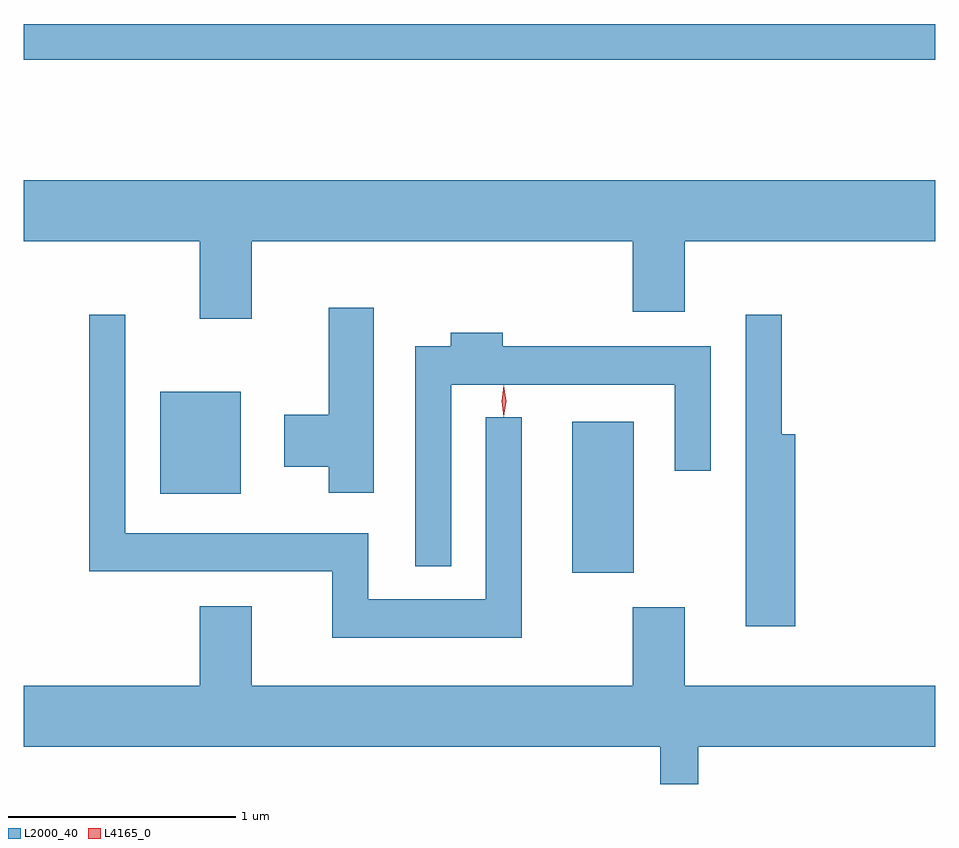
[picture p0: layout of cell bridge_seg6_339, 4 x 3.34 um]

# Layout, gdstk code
import gdstk
lib = gdstk.Library(unit=1e-6, precision=1e-09)
def R(c, l, rs):  # rectangles x0, y0, x1, y1
    for r in rs: c.add(gdstk.rectangle(r[:2], r[2:], *l))
def P(c, l, *ps):  # polygons
    for p in ps: c.add(gdstk.Polygon(p, *l))
L2000_40 = (2000, 40)
L4165_0 = (4165, 0)

bridge_seg6_339 = lib.new_cell('bridge_seg6_339')
R(bridge_seg6_339, L2000_40, [(1292.326,1533.041,1292.594,1533.704), (1290.516,1533.386,1290.869,1533.834), (1289.918,1535.291,1293.918,1535.449)])
P(bridge_seg6_339, L2000_40, [(1290.919,1534.496),(1292.591,1534.496),(1292.591,1534.186),(1292.819,1534.186),(1292.819,1534.496),(1293.918,1534.496),(1293.918,1534.764),(1289.918,1534.764),(1289.918,1534.496),(1290.691,1534.496),(1290.691,1534.156),(1290.919,1534.156)],
  [(1291.454,1534.204),(1291.256,1534.204),(1291.256,1533.734),(1291.061,1533.734),(1291.061,1533.506),(1291.256,1533.506),(1291.256,1533.391),(1291.454,1533.391)],
  [(1292.104,1533.723),(1291.946,1533.723),(1291.946,1532.924),(1291.429,1532.924),(1291.429,1533.214),(1290.364,1533.214),(1290.364,1534.173),(1290.206,1534.173),(1290.206,1533.046),(1291.271,1533.046),(1291.271,1532.756),(1292.104,1532.756)],
  [(1293.304,1533.649),(1293.244,1533.649),(1293.244,1534.173),(1293.086,1534.173),(1293.086,1532.806),(1293.304,1532.806)],
  [(1291.794,1533.866),(1292.776,1533.866),(1292.776,1533.488),(1292.934,1533.488),(1292.934,1534.034),(1292.019,1534.034),(1292.019,1534.094),(1291.791,1534.094),(1291.791,1534.034),(1291.636,1534.034),(1291.636,1533.068),(1291.794,1533.068)],
  [(1292.879,1532.276),(1293.918,1532.276),(1293.918,1532.544),(1292.819,1532.544),(1292.819,1532.889),(1292.591,1532.889),(1292.591,1532.544),(1290.919,1532.544),(1290.919,1532.894),(1290.691,1532.894),(1290.691,1532.544),(1289.918,1532.544),(1289.918,1532.276),(1292.711,1532.276),(1292.711,1532.113),(1292.879,1532.113)])
P(bridge_seg6_339, L4165_0, [(1292.024,1533.724),(1292.015,1533.793),(1292.024,1533.863),(1292.025,1533.863),(1292.025,1533.863),(1292.035,1533.793),(1292.025,1533.724),(1292.025,1533.724)],
  [(1292.024,1533.727),(1292.015,1533.794),(1292.024,1533.86),(1292.025,1533.861),(1292.025,1533.86),(1292.035,1533.794),(1292.025,1533.727),(1292.025,1533.727)])

lib.write_gds('bridge_seg6_339.gds')
